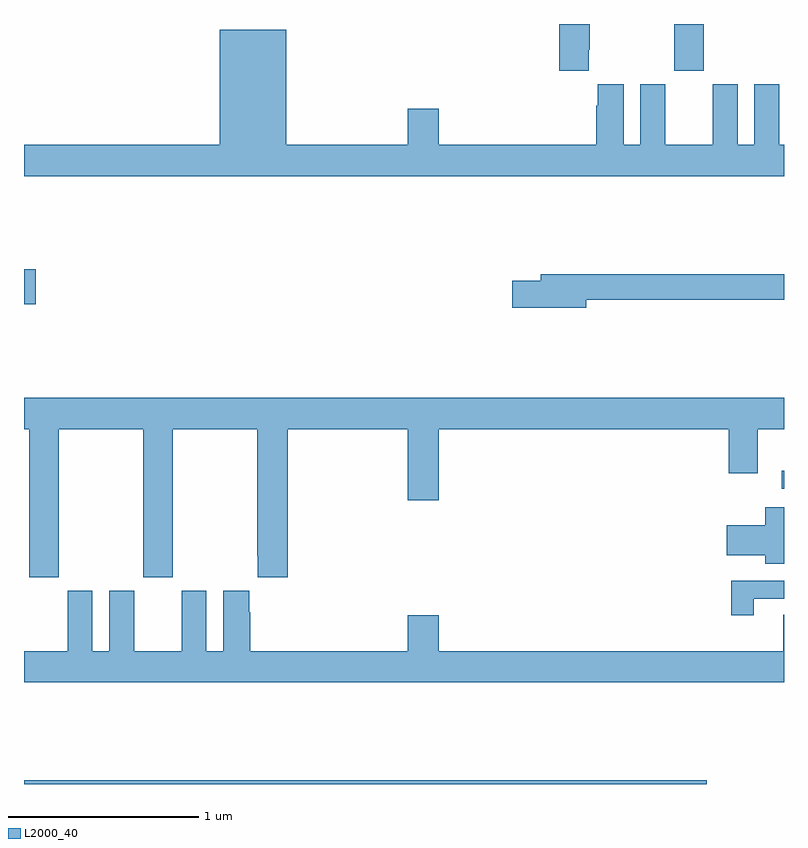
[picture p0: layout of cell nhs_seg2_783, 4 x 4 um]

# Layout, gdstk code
import gdstk
lib = gdstk.Library(unit=1e-6, precision=1e-09)
def R(c, l, rs):  # rectangles x0, y0, x1, y1
    for r in rs: c.add(gdstk.rectangle(r[:2], r[2:], *l))
def P(c, l, *ps):  # polygons
    for p in ps: c.add(gdstk.Polygon(p, *l))
L2000_40 = (2000, 40)

nhs_seg2_783 = lib.new_cell('nhs_seg2_783')
R(nhs_seg2_783, L2000_40, [(151,613.8,154.594,613.82), (154.989,615.354,155,615.45), (151,616.325,151.063,616.508), (154.423,617.553,154.578,617.8)])
P(nhs_seg2_783, L2000_40, [(153.973,617.665),(153.978,617.665),(153.978,617.8),(153.818,617.8),(153.818,617.553),(153.973,617.553)],
  [(155,617.164),(154.975,617.164),(154.975,617.482),(154.844,617.482),(154.844,617.164),(154.756,617.164),(154.756,617.482),(154.625,617.482),(154.625,617.164),(154.375,617.164),(154.375,617.482),(154.244,617.482),(154.244,617.164),(154.156,617.164),(154.156,617.482),(154.019,617.482),(154.019,617.369),(154.013,617.369),(154.013,617.164),(153.184,617.164),(153.184,617.353),(153.02,617.353),(153.02,617.164),(152.38,617.164),(152.38,617.77),(152.03,617.77),(152.03,617.164),(151,617.164),(151,617),(155,617)],
  [(153.958,616.348),(155,616.348),(155,616.484),(153.719,616.484),(153.719,616.448),(153.57,616.448),(153.57,616.306),(153.958,616.306)],
  [(151.182,615.668),(151.627,615.668),(151.627,614.889),(151.782,614.889),(151.782,615.668),(152.227,615.668),(152.227,615.001),(152.231,615.001),(152.231,614.889),(152.387,614.889),(152.387,615.668),(153.02,615.668),(153.02,615.294),(153.184,615.294),(153.184,615.668),(154.709,615.668),(154.709,615.435),(154.861,615.435),(154.861,615.668),(155,615.668),(155,615.832),(151,615.832),(151,615.668),(151.027,615.668),(151.027,614.889),(151.182,614.889)],
  [(155,615.256),(154.901,615.256),(154.901,615.163),(154.698,615.163),(154.698,615.005),(154.901,615.005),(154.901,614.96),(155,614.96)],
  [(154.84,614.775),(155,614.775),(155,614.871),(154.723,614.871),(154.723,614.688),(154.84,614.688)],
  [(151.229,614.818),(151.229,614.5),(151,614.5),(151,614.336),(155,614.336),(155,614.69),(154.997,614.69),(154.997,614.5),(153.184,614.5),(153.184,614.689),(153.02,614.689),(153.02,614.5),(152.192,614.5),(152.192,614.705),(152.185,614.705),(152.185,614.818),(152.048,614.818),(152.048,614.5),(151.96,614.5),(151.96,614.818),(151.829,614.818),(151.829,614.5),(151.579,614.5),(151.579,614.818),(151.448,614.818),(151.448,614.5),(151.36,614.5),(151.36,614.818)])

lib.write_gds('nhs_seg2_783.gds')
